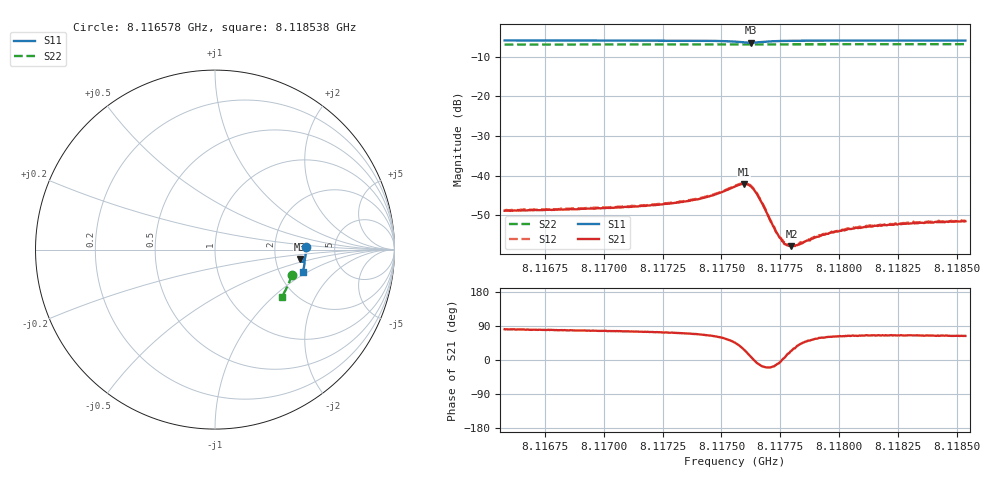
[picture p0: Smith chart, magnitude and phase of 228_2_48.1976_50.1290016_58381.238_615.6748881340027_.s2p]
#  HZ  S  RI  R  50.00
! Rohde & Schwarz Vector Network Analyzer
! Rohde-Schwarz,ZNB20-2Port,1311601062101988,3.16
! Created: UTC 3/20/2024, 11:46:14 AM
! freq[Hz]  re:S11  im:S11  re:S21  im:S21  re:S12  im:S12  re:S22  im:S22
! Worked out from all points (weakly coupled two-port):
!   401 points, 8.116578 GHz to 8.118538 GHz, reference 50 ohm
!   highest |S21| = -42.04 dB at 8.117597 GHz (marker M1); lowest = -57.7 dB at 8.117798 GHz (marker M2)
!   lowest |S11| = -6.5 dB at 8.117626 GHz (marker M3), VSWR 2.81, Z = 137 - j19.5 ohm
!   |S11| at or under -10 dB: nowhere
!   |S22| runs from -6.9 to -6.8 dB; largest |S21 - S12| = 0.00021
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8.1165775e9  0.5066 0.0153  0.000551 0.00359  0.000631 0.00364  0.4273 -0.141
8.1169059e9  0.5061 -0.0101  0.000809 0.00375  0.000837 0.0038  0.4205 -0.1628
8.1172342e9  0.5039 -0.0365  0.00124 0.00413  0.0013 0.00422  0.4125 -0.1844
8.1173224e9  0.5026 -0.0443  0.0015 0.00439  0.00159 0.00449  0.4101 -0.19
8.1174155e9  0.5001 -0.0534  0.00202 0.00481  0.00211 0.00486  0.4075 -0.1961
8.1174939e9  0.4952 -0.0621  0.00305 0.0053  0.00318 0.00534  0.4049 -0.2011
8.1175576e9  0.4851 -0.0681  0.00513 0.00525  0.00529 0.0053  0.4027 -0.2052
8.1175968e9  0.4749 -0.0647  0.00706 0.00356  0.00724 0.00358  0.4011 -0.2073
8.1176115e9  0.4723 -0.0603  0.00741 0.00235  0.00755 0.00227  0.4006 -0.2079
8.1176262e9  0.472 -0.0549  0.00725 0.000965  0.00738 0.000913  0.4004 -0.2085
8.1176409e9  0.4745 -0.0501  0.00651 -0.000203  0.00665 -0.000291  0.4 -0.2093
8.1176605e9  0.48 -0.0465  0.00514 -0.00109  0.00523 -0.00114  0.3999 -0.2102
8.1177389e9  0.4951 -0.0535  0.00182 -0.000312  0.00181 -0.000363  0.398 -0.2155
8.1177683e9  0.497 -0.0576  0.00137 0.000144  0.00141 0.000129  0.3972 -0.2176
8.117783e9  0.4977 -0.0596  0.00128 0.000394  0.00131 0.000378  0.3968 -0.2184
8.1177977e9  0.4981 -0.0614  0.00118 0.000536  0.00121 0.000534  0.3963 -0.2194
8.1178222e9  0.4985 -0.0643  0.00106 0.000812  0.0011 0.000805  0.3956 -0.221
8.1178859e9  0.4988 -0.0712  0.000954 0.0013  0.00101 0.00131  0.3936 -0.2251
8.1179594e9  0.4984 -0.0781  0.000923 0.00167  0.00094 0.0017  0.3913 -0.2297
8.1180378e9  0.4976 -0.0849  0.000935 0.00192  0.000961 0.00194  0.3886 -0.2346
8.1182142e9  0.4952 -0.0991  0.00102 0.00219  0.00102 0.00224  0.3826 -0.2453
8.1185376e9  0.4895 -0.1235  0.00119 0.00239  0.00122 0.00243  0.3707 -0.2646
